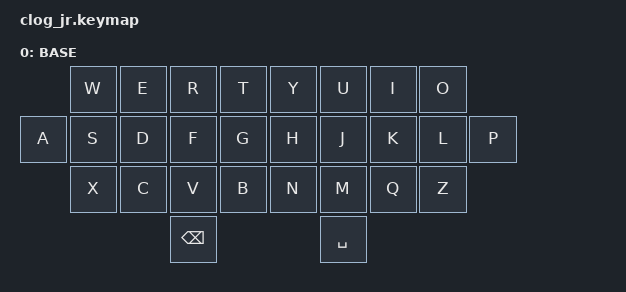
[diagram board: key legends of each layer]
/*
* Copyright (c) 2022 The ZMK Contributors
*
* SPDX-License-Identifier: MIT
*/

#include <behaviors.dtsi>
#include <dt-bindings/zmk/keys.h>
#include <dt-bindings/zmk/bt.h>

#define BASE 0

/ {
    keymap {
        compatible = "zmk,keymap";

        BASE {
                bindings = <
                                &kp W      &kp E       &kp R        &kp T            &kp Y     &kp U      &kp I       &kp O
                        &kp A   &kp S      &kp D       &kp F        &kp G            &kp H     &kp J      &kp K       &kp L    &kp P
                                &kp X      &kp C       &kp V        &kp B            &kp N     &kp M      &kp Q       &kp Z  
                                                    &kp BSPC                                &kp SPACE
                >;
            };
        };
    };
